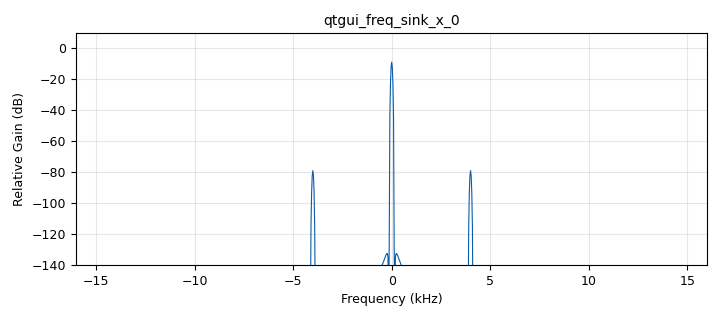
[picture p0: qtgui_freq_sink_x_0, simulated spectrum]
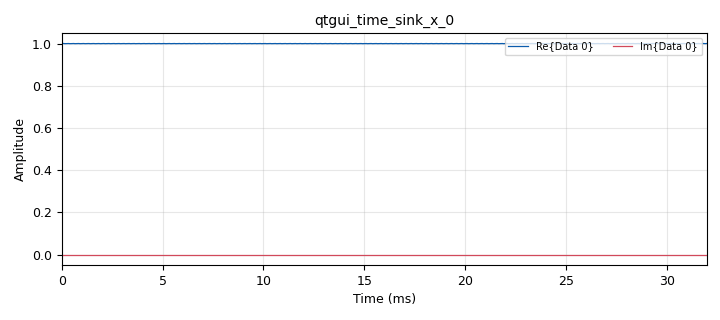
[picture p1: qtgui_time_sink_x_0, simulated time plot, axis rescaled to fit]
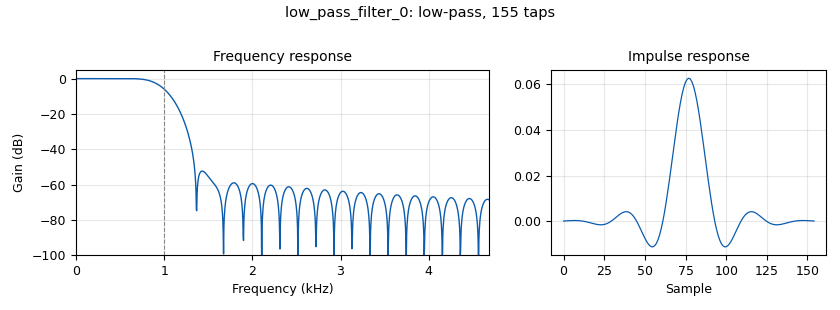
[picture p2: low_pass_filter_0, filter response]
options:
  parameters:
    generate_options: qt_gui
    id: sdr_lesson2a
    output_language: python
    title: Not titled yet
  states: {}

blocks:
- name: samp_rate
  id: variable
  parameters:
    value: '32000'
  states: {}
- name: analog_sig_source_x_0
  id: analog_sig_source_x
  parameters:
    amp: '1'
    freq: '5000'
    offset: '0'
    phase: '0'
    samp_rate: samp_rate
    type: complex
    waveform: analog.GR_COS_WAVE
  states: {}
- name: analog_sig_source_x_1
  id: analog_sig_source_x
  parameters:
    amp: '1'
    freq: '-5000'
    offset: '0'
    phase: '0'
    samp_rate: samp_rate
    type: complex
    waveform: analog.GR_COS_WAVE
  states: {}
- name: analog_sig_source_x_2
  id: analog_sig_source_x
  parameters:
    amp: '1'
    freq: '1000'
    offset: '0'
    phase: '0'
    samp_rate: samp_rate
    type: complex
    waveform: analog.GR_COS_WAVE
  states: {}
- name: analog_sig_source_x_3
  id: analog_sig_source_x
  parameters:
    amp: '1'
    freq: '9000'
    offset: '0'
    phase: '0'
    samp_rate: samp_rate
    type: complex
    waveform: analog.GR_COS_WAVE
  states: {}
- name: blocks_add_xx_0
  id: blocks_add_xx
  parameters:
    num_inputs: '3'
    type: complex
  states: {}
- name: blocks_multiply_xx_0
  id: blocks_multiply_xx
  parameters:
    type: complex
  states: {}
- name: low_pass_filter_0
  id: low_pass_filter
  parameters:
    cutoff_freq: '1000'
    decim: '1'
    gain: '1'
    samp_rate: samp_rate
    type: fir_filter_ccf
    width: '500'
    win: window.WIN_HAMMING
  states: {}
- name: qtgui_freq_sink_x_0
  id: qtgui_freq_sink_x
  parameters:
    bw: samp_rate
    fc: '0'
    fftsize: '1024'
    type: complex
  states: {}
- name: qtgui_time_sink_x_0
  id: qtgui_time_sink_x
  parameters:
    size: '1024'
    srate: samp_rate
    type: complex
  states: {}

connections:
- [analog_sig_source_x_0, '0', blocks_add_xx_0, '0']
- [analog_sig_source_x_1, '0', blocks_multiply_xx_0, '1']
- [analog_sig_source_x_2, '0', blocks_add_xx_0, '1']
- [analog_sig_source_x_3, '0', blocks_add_xx_0, '2']
- [blocks_add_xx_0, '0', blocks_multiply_xx_0, '0']
- [blocks_multiply_xx_0, '0', low_pass_filter_0, '0']
- [low_pass_filter_0, '0', qtgui_freq_sink_x_0, '0']
- [low_pass_filter_0, '0', qtgui_time_sink_x_0, '0']

metadata:
  file_format: 1
  grc_version: 3.10.12.0
